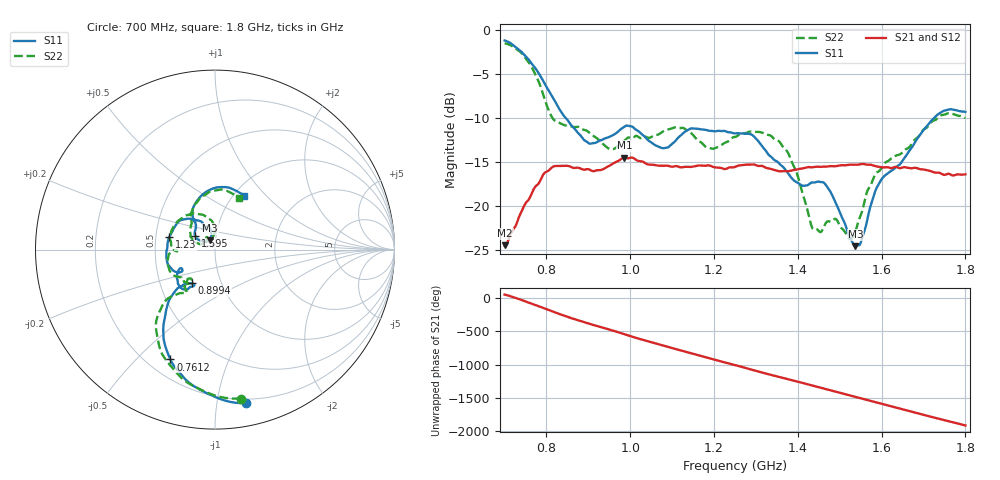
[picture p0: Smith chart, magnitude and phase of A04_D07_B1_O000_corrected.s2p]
! Created with skrf 1.9.0 (http://scikit-rf.org).
# Hz S RI R 50.0
!freq ReS11 ImS11 ReS21 ImS21 ReS12 ImS12 ReS22 ImS22
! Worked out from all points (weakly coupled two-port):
!   1601 points, 700 MHz to 1.8 GHz, reference 50 ohm
!   highest |S21| = -14.52 dB at 986 MHz (marker M1); lowest = -24.5 dB at 701.4 MHz (marker M2)
!   lowest |S11| = -24.6 dB at 1.537 GHz (marker M3), VSWR 1.12, Z = 47.2 + j4.98 ohm
!   |S11| at or under -10 dB: 845.7 MHz to 1.725 GHz (879.7 MHz wide, 68.4 % of centre)
!   |S22| runs from -23.8 to -1.5 dB; largest |S21 - S12| = 0.0036
!   S11 on the Smith chart (normalised r, x): 700 MHz: 0.17, -1.21; 761.2 MHz: 0.29, -0.63; 899.4 MHz: 0.72, -0.29; 1.23 GHz: 0.59, +0.09; 1.595 GHz: 0.79, +0.13; 1.8 GHz: 1.12, +0.76
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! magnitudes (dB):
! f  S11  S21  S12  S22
! 700 MHz  -1.2  -24.5  -24.3  -1.5
! 701.4 MHz  -1.2  -24.5  -24.2  -1.5
! 761.2 MHz  -3.6  -19.0  -18.9  -3.9
! 816.2 MHz  -7.8  -15.5  -15.6  -10.1
! 883.6 MHz  -12.1  -15.8  -15.7  -11.2
! 899.4 MHz  -12.8  -15.8  -15.9  -11.6
! 952.3 MHz  -12.1  -15.4  -15.4  -13.6
! 986 MHz  -11.0  -14.5  -14.6  -12.6
! 1.067 GHz  -13.3  -15.4  -15.4  -11.9
! 1.145 GHz  -11.2  -15.6  -15.6  -11.7
! 1.19 GHz  -11.5  -15.4  -15.5  -13.4
! 1.23 GHz  -11.6  -15.8  -15.7  -12.8
! 1.25 GHz  -11.8  -15.6  -15.5  -12.2
! 1.357 GHz  -15.3  -16.1  -16.0  -12.8
! 1.396 GHz  -17.3  -15.9  -15.9  -16.1
! 1.434 GHz  -17.4  -15.6  -15.6  -22.5
! 1.471 GHz  -18.0  -15.5  -15.5  -21.8
! 1.537 GHz  -24.6  -15.3  -15.3  -23.0
! 1.595 GHz  -17.4  -15.6  -15.6  -16.0
! 1.617 GHz  -16.2  -15.7  -15.6  -14.9
! 1.735 GHz  -9.6  -16.2  -16.3  -10.0
! 1.8 GHz  -9.3  -16.4  -16.4  -10.0
